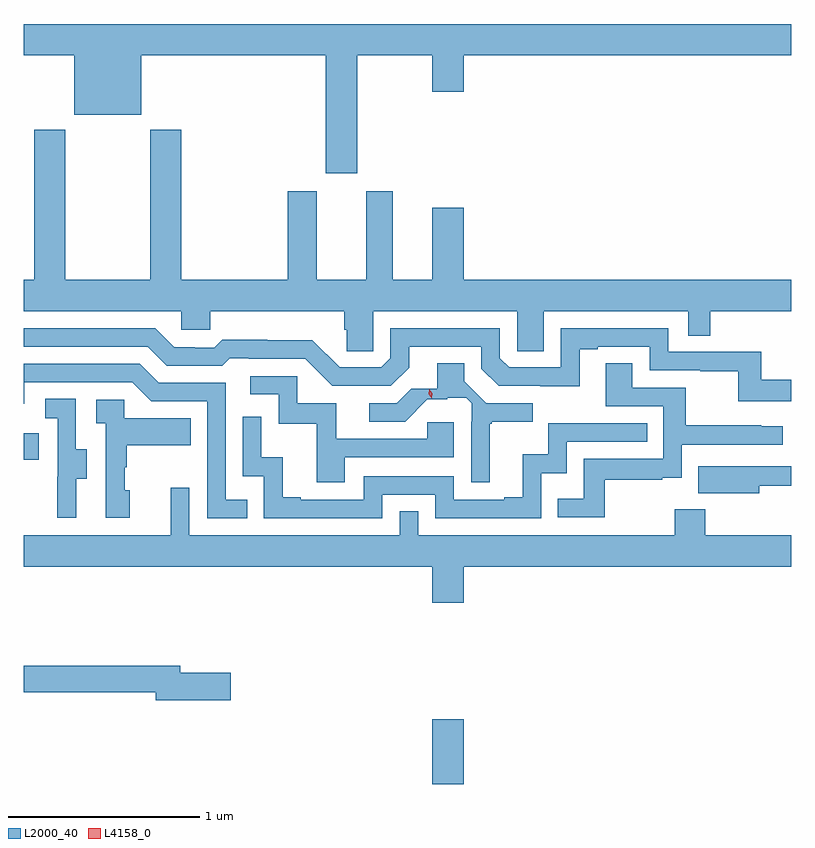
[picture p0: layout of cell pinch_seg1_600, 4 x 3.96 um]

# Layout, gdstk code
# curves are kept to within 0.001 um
import gdstk
lib = gdstk.Library(unit=1e-6, precision=1e-09)
def R(c, l, rs):  # rectangles x0, y0, x1, y1
    for r in rs: c.add(gdstk.rectangle(r[:2], r[2:], *l))
def P(c, l, *ps):  # polygons
    for p in ps: c.add(gdstk.Polygon(p, *l))
L2000_40 = (2000, 40)
L4158_0 = (4158, 0)

pinch_seg1_600 = lib.new_cell('pinch_seg1_600')
R(pinch_seg1_600, L2000_40, [(1124.048,506.645,1124.212,506.983), (1121.919,508.334,1121.999,508.471)])
P(pinch_seg1_600, L2000_40, [(1123.657,510.44),(1124.048,510.44),(1124.048,510.252),(1124.212,510.252),(1124.212,510.44),(1125.919,510.44),(1125.919,510.604),(1121.919,510.604),(1121.919,510.44),(1122.182,510.44),(1122.182,510.131),(1122.532,510.131),(1122.532,510.44),(1123.493,510.44),(1123.493,509.826),(1123.657,509.826)],
  [(1124.212,509.647),(1124.048,509.647),(1124.048,509.272),(1123.843,509.272),(1123.843,509.734),(1123.703,509.734),(1123.703,509.272),(1123.447,509.272),(1123.447,509.734),(1123.295,509.734),(1123.295,509.272),(1122.74,509.272),(1122.74,510.052),(1122.58,510.052),(1122.58,509.272),(1122.135,509.272),(1122.135,510.052),(1121.975,510.052),(1121.975,509.272),(1121.919,509.272),(1121.919,509.108),(1122.741,509.108),(1122.741,509.01),(1122.891,509.01),(1122.891,509.108),(1123.589,509.108),(1123.589,509.01),(1123.603,509.01),(1123.603,508.9),(1123.74,508.9),(1123.74,509.108),(1124.49,509.108),(1124.49,508.9),(1124.629,508.9),(1124.629,509.108),(1125.381,509.108),(1125.381,508.981),(1125.497,508.981),(1125.497,509.108),(1125.919,509.108),(1125.919,509.272),(1124.212,509.272)],
  [(1125.919,508.75),(1125.763,508.75),(1125.763,508.896),(1125.276,508.896),(1125.276,509.019),(1124.718,509.019),(1124.718,508.815),(1124.448,508.815),(1124.4,508.863),(1124.4,509.019),(1123.83,509.019),(1123.83,508.863),(1123.782,508.815),(1123.566,508.815),(1123.424,508.957),(1123.188,508.957),(1123.188,508.96),(1122.955,508.96),(1122.913,508.917),(1122.81,508.917),(1122.81,508.92),(1122.703,508.92),(1122.604,509.019),(1121.919,509.019),(1121.919,508.923),(1122.567,508.923),(1122.666,508.824),(1122.955,508.824),(1122.994,508.863),(1123.093,508.863),(1123.093,508.86),(1123.386,508.86),(1123.527,508.719),(1123.833,508.719),(1123.927,508.813),(1123.927,508.923),(1124.304,508.923),(1124.304,508.809),(1124.394,508.719),(1124.815,508.718),(1124.815,508.911),(1124.911,508.911),(1124.911,508.923),(1125.18,508.923),(1125.18,508.8),(1125.445,508.8),(1125.445,508.795),(1125.642,508.795),(1125.642,508.64),(1125.919,508.64)],
  [(1124.347,508.521),(1124.359,508.521),(1124.359,508.532),(1124.572,508.532),(1124.572,508.629),(1124.328,508.629),(1124.215,508.742),(1124.215,508.838),(1124.075,508.838),(1124.075,508.704),(1123.938,508.704),(1123.863,508.629),(1123.719,508.629),(1123.719,508.533),(1123.906,508.533),(1124.023,508.65),(1124.127,508.65),(1124.127,508.658),(1124.224,508.658),(1124.253,508.629),(1124.253,508.532),(1124.25,508.532),(1124.25,508.218),(1124.347,508.218)],
  [(1124.947,508.23),(1125.245,508.23),(1125.245,508.241),(1125.348,508.241),(1125.348,508.413),(1125.874,508.413),(1125.874,508.509),(1125.761,508.509),(1125.761,508.514),(1125.368,508.514),(1125.368,508.71),(1125.091,508.71),(1125.091,508.838),(1124.951,508.838),(1124.951,508.614),(1125.252,508.614),(1125.252,508.338),(1124.836,508.338),(1124.836,508.132),(1124.701,508.132),(1124.701,508.035),(1124.947,508.035)],
  [(1123.085,508.125),(1122.972,508.125),(1122.972,508.734),(1122.622,508.734),(1122.523,508.833),(1121.919,508.833),(1121.919,508.625),(1121.922,508.625),(1121.922,508.737),(1122.486,508.737),(1122.585,508.638),(1122.876,508.638),(1122.876,508.029),(1123.085,508.029)],
  [(1123.591,508.347),(1124.161,508.347),(1124.161,508.529),(1124.023,508.529),(1124.023,508.443),(1123.549,508.443),(1123.549,508.629),(1123.344,508.629),(1123.344,508.77),(1123.101,508.77),(1123.101,508.674),(1123.248,508.674),(1123.248,508.521),(1123.447,508.521),(1123.447,508.218),(1123.591,508.218)],
  [(1122.193,508.234),(1122.247,508.234),(1122.247,508.389),(1122.192,508.389),(1122.192,508.652),(1122.033,508.652),(1122.033,508.549),(1122.096,508.549),(1122.096,508.245),(1122.095,508.245),(1122.095,508.032),(1122.193,508.032)],
  [(1122.472,508.176),(1122.447,508.176),(1122.447,508.295),(1122.457,508.295),(1122.457,508.409),(1122.791,508.409),(1122.791,508.549),(1122.444,508.549),(1122.444,508.647),(1122.297,508.647),(1122.297,508.523),(1122.348,508.523),(1122.348,508.032),(1122.472,508.032)],
  [(1123.788,508.152),(1124.064,508.152),(1124.064,508.029),(1124.616,508.029),(1124.616,508.265),(1124.748,508.265),(1124.748,508.428),(1125.167,508.428),(1125.167,508.524),(1124.652,508.524),(1124.652,508.363),(1124.519,508.363),(1124.519,508.138),(1124.423,508.138),(1124.423,508.125),(1124.16,508.125),(1124.16,508.248),(1123.692,508.248),(1123.692,508.125),(1123.363,508.125),(1123.363,508.138),(1123.268,508.138),(1123.268,508.346),(1123.158,508.346),(1123.158,508.558),(1123.062,508.558),(1123.062,508.248),(1123.17,508.248),(1123.17,508.029),(1123.788,508.029)],
  [(1125.751,508.198),(1125.919,508.198),(1125.919,508.299),(1125.647,508.299),(1125.647,508.3),(1125.433,508.3),(1125.433,508.16),(1125.751,508.16)],
  [(1124.212,507.776),(1125.919,507.776),(1125.919,507.94),(1125.47,507.94),(1125.47,508.075),(1125.31,508.075),(1125.31,507.94),(1123.974,507.94),(1123.974,508.067),(1123.878,508.067),(1123.878,507.94),(1122.783,507.94),(1122.783,508.189),(1122.686,508.189),(1122.686,507.94),(1121.919,507.94),(1121.919,507.776),(1124.048,507.776),(1124.048,507.588),(1124.212,507.588)],
  [(1122.997,507.224),(1122.736,507.224),(1122.736,507.26),(1121.919,507.26),(1121.919,507.124),(1122.608,507.124),(1122.608,507.082),(1122.997,507.082)])
P(pinch_seg1_600, L4158_0, [(1124.045,508.654),(1124.045,508.655),(1124.029,508.675),(1124.031,508.701),(1124.031,508.701),(1124.031,508.701),(1124.048,508.681),(1124.046,508.655)])

lib.write_gds('pinch_seg1_600.gds')
